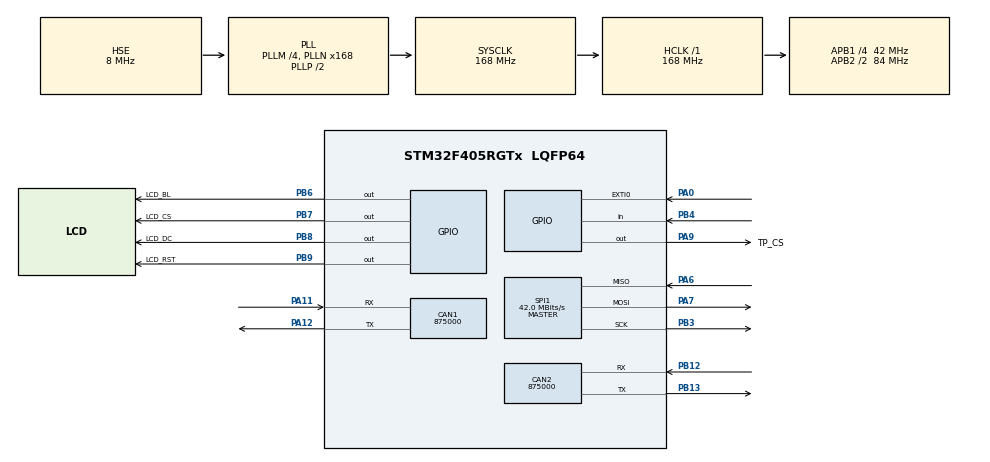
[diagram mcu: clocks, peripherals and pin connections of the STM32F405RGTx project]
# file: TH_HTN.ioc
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ADC1.Channel-1\#ChannelRegularConversion=ADC_CHANNEL_TEMPSENSOR
ADC1.NbrOfConversionFlag=1
ADC1.Rank-1\#ChannelRegularConversion=1
ADC1.SamplingTime-1\#ChannelRegularConversion=ADC_SAMPLETIME_3CYCLES
ADC1.master=1
CAN1.CalculateBaudRate=875000
CAN1.CalculateTimeBit=1142
CAN1.CalculateTimeQuantum=380.95238095238096
CAN1.Mode=CAN_MODE_NORMAL
CAN1.NART=ENABLE
CAN2.CalculateBaudRate=875000
CAN2.CalculateTimeBit=1142
CAN2.CalculateTimeQuantum=380.95238095238096
CAN2.Mode=CAN_MODE_NORMAL
CAN2.NART=ENABLE
FREERTOS.Queues01=TempQueue,16,uint32_t,0,Dynamic,NULL,NULL
FREERTOS.Tasks01=UI_Task,24,1024,StartDefaultTask,Default,NULL,Dynamic,NULL,NULL;Temp_Task,24,512,StartTask02,Default,NULL,Dynamic,NULL,NULL;Touch_Task,24,256,StartTask03,Default,NULL,Dynamic,NULL,NULL
FREERTOS.configTOTAL_HEAP_SIZE=30720
FREERTOS.configUSE_NEWLIB_REENTRANT=1
Mcu.Family=STM32F4
Mcu.Name=STM32F405RGTx
Mcu.Package=LQFP64
NVIC.EXTI0_IRQn=true\:5\:0\:false\:false\:true\:true\:true\:true\:true
NVIC.PriorityGroup=NVIC_PRIORITYGROUP_4
NVIC.TIM1_UP_TIM10_IRQn=true\:15\:0\:false\:false\:true\:false\:false\:true\:true
NVIC.TimeBase=TIM1_UP_TIM10_IRQn
NVIC.TimeBaseIP=TIM1
PA0-WKUP.GPIO_ModeDefaultEXTI=GPIO_MODE_IT_RISING
PA0-WKUP.GPIO_PuPd=GPIO_PULLDOWN
PA0-WKUP.Signal=GPXTI0
PA11.GPIO_PuPd=GPIO_PULLUP
PA11.Mode=CAN_Activate
PA11.Signal=CAN1_RX
PA12.Mode=CAN_Activate
PA12.Signal=CAN1_TX
PA13.Mode=Serial_Wire
PA13.Signal=SYS_JTMS-SWDIO
PA14.Mode=Serial_Wire
PA14.Signal=SYS_JTCK-SWCLK
PA6.Mode=Full_Duplex_Master
PA6.Signal=SPI1_MISO
PA7.Mode=Full_Duplex_Master
PA7.Signal=SPI1_MOSI
PA9.GPIO_Label=TP_CS
PA9.PinState=GPIO_PIN_SET
PA9.Signal=GPIO_Output
PB12.GPIO_PuPd=GPIO_PULLUP
PB12.Mode=CAN_Activate
PB12.Signal=CAN2_RX
PB13.Mode=CAN_Activate
PB13.Signal=CAN2_TX
PB3.Mode=Full_Duplex_Master
PB3.Signal=SPI1_SCK
PB4.GPIO_PuPd=GPIO_PULLUP
PB4.Signal=GPIO_Input
PB6.GPIO_Label=LCD_BL
PB6.PinState=GPIO_PIN_RESET
PB6.Signal=GPIO_Output
PB7.GPIO_Label=LCD_CS
PB7.PinState=GPIO_PIN_SET
PB7.Signal=GPIO_Output
PB8.GPIO_Label=LCD_DC
PB8.GPIO_Speed=GPIO_SPEED_FREQ_HIGH
PB8.PinState=GPIO_PIN_SET
PB8.Signal=GPIO_Output
PB9.GPIO_Label=LCD_RST
PB9.PinState=GPIO_PIN_SET
PB9.Signal=GPIO_Output
PH0-OSC_IN.Mode=HSE-External-Oscillator
PH0-OSC_IN.Signal=RCC_OSC_IN
PH1-OSC_OUT.Mode=HSE-External-Oscillator
PH1-OSC_OUT.Signal=RCC_OSC_OUT
ProjectManager.HeapSize=0x200
ProjectManager.StackSize=0x400
ProjectManager.TargetToolchain=STM32CubeIDE
RCC.48MHZClocksFreq_Value=84000000
RCC.AHBFreq_Value=168000000
RCC.APB1CLKDivider=RCC_HCLK_DIV4
RCC.APB1Freq_Value=42000000
RCC.APB1TimFreq_Value=84000000
RCC.APB2CLKDivider=RCC_HCLK_DIV2
RCC.APB2Freq_Value=84000000
RCC.APB2TimFreq_Value=168000000
RCC.CortexFreq_Value=168000000
RCC.HCLKFreq_Value=168000000
RCC.HSE_VALUE=8000000
RCC.HSI_VALUE=16000000
RCC.LSE_VALUE=32768
RCC.PLLM=4
RCC.PLLN=168
RCC.PLLSourceVirtual=RCC_PLLSOURCE_HSE
RCC.SYSCLKFreq_VALUE=168000000
RCC.SYSCLKSource=RCC_SYSCLKSOURCE_PLLCLK
RCC.VCOOutputFreq_Value=336000000
SPI1.CalculateBaudRate=42.0 MBits/s
SPI1.Direction=SPI_DIRECTION_2LINES
SPI1.Mode=SPI_MODE_MASTER
SPI1.VirtualType=VM_MASTER
VP_ADC1_TempSens_Input.Mode=IN-TempSens
VP_FREERTOS_VS_CMSIS_V2.Mode=CMSIS_V2
VP_SYS_VS_tim1.Mode=TIM1
board=custom

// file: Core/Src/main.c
/* USER CODE BEGIN Header */
/**
  ******************************************************************************
  * @file           : main.c
  * @brief          : Main program body
  ******************************************************************************
  * @attention
  *
  * Copyright (c) 2026 STMicroelectronics.
  * All rights reserved.
  *
  * This software is licensed under terms that can be found in the LICENSE file
  * in the root directory of this software component.
  * If no LICENSE file comes with this software, it is provided AS-IS.
  *
  ******************************************************************************
  */
/* USER CODE END Header */
#include "main.h"
#include "cmsis_os.h"

/* USER CODE BEGIN Includes */
#include <stdio.h>
#include <string.h>
#include "st7789.h"
/* USER CODE END Includes */

ADC_HandleTypeDef hadc1;

CAN_HandleTypeDef hcan1;
CAN_HandleTypeDef hcan2;

SPI_HandleTypeDef hspi1;

/* Definitions for UI_Task */
osThreadId_t UI_TaskHandle;
const osThreadAttr_t UI_Task_attributes = {
  .name = "UI_Task",
  .stack_size = 1024 * 4,
  .priority = (osPriority_t) osPriorityNormal,
};
/* Definitions for Temp_Task */
osThreadId_t Temp_TaskHandle;
const osThreadAttr_t Temp_Task_attributes = {
  .name = "Temp_Task",
  .stack_size = 512 * 4,
  .priority = (osPriority_t) osPriorityNormal,
};
/* Definitions for Touch_Task */
osThreadId_t Touch_TaskHandle;
const osThreadAttr_t Touch_Task_attributes = {
  .name = "Touch_Task",
  .stack_size = 256 * 4,
  .priority = (osPriority_t) osPriorityNormal,
};
/* Definitions for TempQueue */
osMessageQueueId_t TempQueueHandle;
const osMessageQueueAttr_t TempQueue_attributes = {
  .name = "TempQueue"
};
/* USER CODE BEGIN PV */
float debug_temp = 0.0f;

/* USER CODE END PV */

void SystemClock_Config(void);
static void MX_GPIO_Init(void);
static void MX_ADC1_Init(void);
static void MX_CAN1_Init(void);
static void MX_CAN2_Init(void);
static void MX_SPI1_Init(void);
void StartDefaultTask(void *argument);
void StartTask02(void *argument);
void StartTask03(void *argument);

/* USER CODE BEGIN 0 */
void CAN_Config_And_Start(void)
{
    HAL_CAN_Stop(&hcan1);
    HAL_CAN_Stop(&hcan2);

    // CẤU HÌNH CAN1 VÀ CAN2 VỀ BÌNH THƯỜNG (NORMAL)
    hcan1.Init.Prescaler = 20;
    hcan1.Init.Mode = CAN_MODE_NORMAL;
    hcan1.Init.SyncJumpWidth = CAN_SJW_1TQ;
    hcan1.Init.TimeSeg1 = CAN_BS1_11TQ;
    hcan1.Init.TimeSeg2 = CAN_BS2_2TQ;
    hcan1.Init.TimeTriggeredMode = DISABLE;
    hcan1.Init.AutoBusOff = DISABLE;
    hcan1.Init.AutoWakeUp = DISABLE;
    hcan1.Init.AutoRetransmission = ENABLE; // Bật khiên chống mất gói
    hcan1.Init.ReceiveFifoLocked = DISABLE;
    hcan1.Init.TransmitFifoPriority = DISABLE;
    HAL_CAN_Init(&hcan1);

    hcan2.Init = hcan1.Init;
    hcan2.Init.Mode = CAN_MODE_NORMAL;
    HAL_CAN_Init(&hcan2);

    // CẤU HÌNH BỘ LỌC CHUẨN 100%
    CAN_FilterTypeDef filter;
    filter.FilterActivation = CAN_FILTER_ENABLE;
    filter.FilterMode = CAN_FILTERMODE_IDMASK;
    filter.FilterScale = CAN_FILTERSCALE_32BIT;
    filter.FilterIdHigh = 0;
    filter.FilterIdLow = 0;
    filter.FilterMaskIdHigh = 0;
    filter.FilterMaskIdLow = 0;
    filter.FilterFIFOAssignment = CAN_RX_FIFO0;
    filter.SlaveStartFilterBank = 14;

    filter.FilterBank = 0;
    HAL_CAN_ConfigFilter(&hcan1, &filter); // Cấp phép CAN1

    filter.FilterBank = 14;
    HAL_CAN_ConfigFilter(&hcan1, &filter); // LƯU Ý: Phải dùng hcan1 để cấp phép CAN2

    HAL_CAN_Start(&hcan1);
    HAL_CAN_Start(&hcan2);
}
long map(long x, long in_min, long in_max, long out_min, long out_max) {
    return (x - in_min) * (out_max - out_min) / (in_max - in_min) + out_min;
}

//uint8_t TP_Read_XY(uint16_t *x, uint16_t *y)
//{
//    // 1. MỞ LẠI CỔNG CHỐNG NHIỄU (Triệt tiêu 100% hiện tượng tự bấm PAUSE)
//    if (HAL_GPIO_ReadPin(GPIOB, GPIO_PIN_4) != GPIO_PIN_RESET) return 0;
//
//    uint8_t tx_x[3] = {0x90, 0, 0};
//    uint8_t tx_y[3] = {0xD0, 0, 0};
//    uint8_t rx_x[3] = {0}, rx_y[3] = {0};
//    uint16_t raw_x = 0, raw_y = 0;
//
//    vTaskSuspendAll();
//
//    __HAL_SPI_DISABLE(&hspi1);
//    SPI1->CR1 = (SPI1->CR1 & ~SPI_CR1_BR_Msk) | SPI_BAUDRATEPRESCALER_128;
//    __HAL_SPI_ENABLE(&hspi1);
//
//    HAL_GPIO_WritePin(GPIOB, GPIO_PIN_7, GPIO_PIN_SET);
//    HAL_GPIO_WritePin(GPIOA, GPIO_PIN_9, GPIO_PIN_RESET);
//
//    HAL_SPI_TransmitReceive(&hspi1, tx_x, rx_x, 3, 10);
//    raw_x = ((rx_x[1] << 8) | rx_x[2]) >> 4;
//    HAL_SPI_TransmitReceive(&hspi1, tx_y, rx_y, 3, 10);
//    raw_y = ((rx_y[1] << 8) | rx_y[2]) >> 4;
//
//    HAL_GPIO_WritePin(GPIOA, GPIO_PIN_9, GPIO_PIN_SET);
//
//    __HAL_SPI_DISABLE(&hspi1);
//    SPI1->CR1 = (SPI1->CR1 & ~SPI_CR1_BR_Msk) | SPI_BAUDRATEPRESCALER_8;
//    __HAL_SPI_ENABLE(&hspi1);
//
//    xTaskResumeAll();
//
//    // Loại bỏ dữ liệu ngoài luồng
//    if (raw_x == 0 || raw_x >= 4095 || raw_y == 0 || raw_y >= 4095) return 0;
//
//    // 2. BỘ MAP CÂN CHỈNH RIÊNG THEO SỐ ĐO THỰC TẾ
//    long lcd_x = map(raw_x, 0, 2600, 0, 240);
//    long lcd_y = map(raw_y, 0, 3800, 0, 320);
//
//    if (lcd_x < 0) lcd_x = 0; if (lcd_x > 240) lcd_x = 240;
//    if (lcd_y < 0) lcd_y = 0; if (lcd_y > 320) lcd_y = 320;
//
//    *x = (uint16_t)lcd_x;
//    *y = (uint16_t)lcd_y;
//
//    return 1;
//}

uint8_t TP_Read_XY(uint16_t *x, uint16_t *y)
{
    uint8_t tx_x[3] = {0x90, 0, 0};
    uint8_t tx_y[3] = {0xD0, 0, 0};
    uint8_t rx_x[3] = {0}, rx_y[3] = {0};
    uint16_t raw_x = 0, raw_y = 0;

    vTaskSuspendAll();

    // 1. Hạ phanh tốc độ SPI cho Cảm ứng (Nó chạy rất chậm)
    __HAL_SPI_DISABLE(&hspi1);
    SPI1->CR1 = (SPI1->CR1 & ~SPI_CR1_BR_Msk) | SPI_BAUDRATEPRESCALER_128;
    __HAL_SPI_ENABLE(&hspi1);

    // =========================================================
    // 2. BẮT LCD BỊT TAI LẠI (Cực kỳ quan trọng để cứu màn hình)
    HAL_GPIO_WritePin(GPIOB, GPIO_PIN_7, GPIO_PIN_SET);

    // 3. ĐÁNH THỨC CẢM ỨNG (Trở về đúng chân PB9 nguyên thủy)
    HAL_GPIO_WritePin(GPIOB, GPIO_PIN_9, GPIO_PIN_RESET);
    // =========================================================

    // 4. Hỏi cung tọa độ
    HAL_SPI_TransmitReceive(&hspi1, tx_x, rx_x, 3, 10);
    raw_x = ((rx_x[1] << 8) | rx_x[2]) >> 4;
    HAL_SPI_TransmitReceive(&hspi1, tx_y, rx_y, 3, 10);
    raw_y = ((rx_y[1] << 8) | rx_y[2]) >> 4;

    // =========================================================
    // 5. CHO CẢM ỨNG ĐI NGỦ
    HAL_GPIO_WritePin(GPIOB, GPIO_PIN_9, GPIO_PIN_SET);
    // =========================================================

    // 6. Phục hồi tốc độ SPI cực nhanh cho LCD
    __HAL_SPI_DISABLE(&hspi1);
    SPI1->CR1 = (SPI1->CR1 & ~SPI_CR1_BR_Msk) | SPI_BAUDRATEPRESCALER_8;
    __HAL_SPI_ENABLE(&hspi1);

    xTaskResumeAll();

    // Loại bỏ rác vật lý (Nếu không chạm, điện áp thường nảy lên 4095 hoặc 0)
    if (raw_x == 0 || raw_x >= 4095 || raw_y == 0 || raw_y >= 4095) return 0;

    // Đẩy thẳng số Điện áp (RAW) ra ngoài để chúng ta đo
    *x = raw_x;
    *y = raw_y;

    return 1;
}
/* USER CODE END 0 */

int main(void)
{

  /* MCU Configuration--------------------------------------------------------*/

  /* Reset of all peripherals, Initializes the Flash interface and the Systick. */
  HAL_Init();

  /* Configure the system clock */
  SystemClock_Config();

  /* Initialize all configured peripherals */
  MX_GPIO_Init();
  MX_ADC1_Init();
  MX_CAN1_Init();
  MX_CAN2_Init();
  MX_SPI1_Init();
  /* USER CODE BEGIN 2 */
  CAN_Config_And_Start();
  /* USER CODE END 2 */

  /* Init scheduler */
  osKernelInitialize();

  /* Create the queue(s) */
  /* creation of TempQueue */
  TempQueueHandle = osMessageQueueNew (16, sizeof(uint32_t), &TempQueue_attributes);

  /* Create the thread(s) */
  /* creation of UI_Task */
  UI_TaskHandle = osThreadNew(StartDefaultTask, NULL, &UI_Task_attributes);

  /* creation of Temp_Task */
  Temp_TaskHandle = osThreadNew(StartTask02, NULL, &Temp_Task_attributes);

  /* creation of Touch_Task */
  Touch_TaskHandle = osThreadNew(StartTask03, NULL, &Touch_Task_attributes);

  /* Start scheduler */
  osKernelStart();

  /* We should never get here as control is now taken by the scheduler */

  /* Infinite loop */
  while (1)
  {

  }
}

void SystemClock_Config(void)
{
  RCC_OscInitTypeDef RCC_OscInitStruct = {0};
  RCC_ClkInitTypeDef RCC_ClkInitStruct = {0};

  /** Configure the main internal regulator output voltage
  */
  __HAL_RCC_PWR_CLK_ENABLE();
  __HAL_PWR_VOLTAGESCALING_CONFIG(PWR_REGULATOR_VOLTAGE_SCALE1);

  /** Initializes the RCC Oscillators according to the specified parameters
  * in the RCC_OscInitTypeDef structure.
  */
  RCC_OscInitStruct.OscillatorType = RCC_OSCILLATORTYPE_HSE;
  RCC_OscInitStruct.HSEState = RCC_HSE_ON;
  RCC_OscInitStruct.PLL.PLLState = RCC_PLL_ON;
  RCC_OscInitStruct.PLL.PLLSource = RCC_PLLSOURCE_HSE;
  RCC_OscInitStruct.PLL.PLLM = 4;
  RCC_OscInitStruct.PLL.PLLN = 168;
  RCC_OscInitStruct.PLL.PLLP = RCC_PLLP_DIV2;
  RCC_OscInitStruct.PLL.PLLQ = 4;
  if (HAL_RCC_OscConfig(&RCC_OscInitStruct) != HAL_OK)
  {
    Error_Handler();
  }

  /** Initializes the CPU, AHB and APB buses clocks
  */
  RCC_ClkInitStruct.ClockType = RCC_CLOCKTYPE_HCLK|RCC_CLOCKTYPE_SYSCLK
                              |RCC_CLOCKTYPE_PCLK1|RCC_CLOCKTYPE_PCLK2;
  RCC_ClkInitStruct.SYSCLKSource = RCC_SYSCLKSOURCE_PLLCLK;
  RCC_ClkInitStruct.AHBCLKDivider = RCC_SYSCLK_DIV1;
  RCC_ClkInitStruct.APB1CLKDivider = RCC_HCLK_DIV4;
  RCC_ClkInitStruct.APB2CLKDivider = RCC_HCLK_DIV2;

  if (HAL_RCC_ClockConfig(&RCC_ClkInitStruct, FLASH_LATENCY_5) != HAL_OK)
  {
    Error_Handler();
  }
}

static void MX_ADC1_Init(void)
{

  ADC_ChannelConfTypeDef sConfig = {0};

  /** Configure the global features of the ADC (Clock, Resolution, Data Alignment and number of conversion)
  */
  hadc1.Instance = ADC1;
  hadc1.Init.ClockPrescaler = ADC_CLOCK_SYNC_PCLK_DIV4;
  hadc1.Init.Resolution = ADC_RESOLUTION_12B;
  hadc1.Init.ScanConvMode = DISABLE;
  hadc1.Init.ContinuousConvMode = DISABLE;
  hadc1.Init.DiscontinuousConvMode = DISABLE;
  hadc1.Init.ExternalTrigConvEdge = ADC_EXTERNALTRIGCONVEDGE_NONE;
  hadc1.Init.ExternalTrigConv = ADC_SOFTWARE_START;
  hadc1.Init.DataAlign = ADC_DATAALIGN_RIGHT;
  hadc1.Init.NbrOfConversion = 1;
  hadc1.Init.DMAContinuousRequests = DISABLE;
  hadc1.Init.EOCSelection = ADC_EOC_SINGLE_CONV;
  if (HAL_ADC_Init(&hadc1) != HAL_OK)
  {
    Error_Handler();
  }

  /** Configure for the selected ADC regular channel its corresponding rank in the sequencer and its sample time.
  */
  sConfig.Channel = ADC_CHANNEL_TEMPSENSOR;
  sConfig.Rank = 1;
  sConfig.SamplingTime = ADC_SAMPLETIME_3CYCLES;
  if (HAL_ADC_ConfigChannel(&hadc1, &sConfig) != HAL_OK)
  {
    Error_Handler();
  }

}

static void MX_CAN1_Init(void)
{

  hcan1.Instance = CAN1;
  hcan1.Init.Prescaler = 16;
  hcan1.Init.Mode = CAN_MODE_NORMAL;
  hcan1.Init.SyncJumpWidth = CAN_SJW_1TQ;
  hcan1.Init.TimeSeg1 = CAN_BS1_1TQ;
  hcan1.Init.TimeSeg2 = CAN_BS2_1TQ;
  hcan1.Init.TimeTriggeredMode = DISABLE;
  hcan1.Init.AutoBusOff = DISABLE;
  hcan1.Init.AutoWakeUp = DISABLE;
  hcan1.Init.AutoRetransmission = ENABLE;
  hcan1.Init.ReceiveFifoLocked = DISABLE;
  hcan1.Init.TransmitFifoPriority = DISABLE;
  if (HAL_CAN_Init(&hcan1) != HAL_OK)
  {
    Error_Handler();
  }

}

static void MX_CAN2_Init(void)
{

  hcan2.Instance = CAN2;
  hcan2.Init.Prescaler = 16;
  hcan2.Init.Mode = CAN_MODE_NORMAL;
  hcan2.Init.SyncJumpWidth = CAN_SJW_1TQ;
  hcan2.Init.TimeSeg1 = CAN_BS1_1TQ;
  hcan2.Init.TimeSeg2 = CAN_BS2_1TQ;
  hcan2.Init.TimeTriggeredMode = DISABLE;
  hcan2.Init.AutoBusOff = DISABLE;
  hcan2.Init.AutoWakeUp = DISABLE;
  hcan2.Init.AutoRetransmission = ENABLE;
  hcan2.Init.ReceiveFifoLocked = DISABLE;
  hcan2.Init.TransmitFifoPriority = DISABLE;
  if (HAL_CAN_Init(&hcan2) != HAL_OK)
  {
    Error_Handler();
  }

}

static void MX_SPI1_Init(void)
{

  /* SPI1 parameter configuration*/
  hspi1.Instance = SPI1;
  hspi1.Init.Mode = SPI_MODE_MASTER;
  hspi1.Init.Direction = SPI_DIRECTION_2LINES;
  hspi1.Init.DataSize = SPI_DATASIZE_8BIT;
  hspi1.Init.CLKPolarity = SPI_POLARITY_LOW;
  hspi1.Init.CLKPhase = SPI_PHASE_1EDGE;
  hspi1.Init.NSS = SPI_NSS_SOFT;
  hspi1.Init.BaudRatePrescaler = SPI_BAUDRATEPRESCALER_2;
  hspi1.Init.FirstBit = SPI_FIRSTBIT_MSB;
  hspi1.Init.TIMode = SPI_TIMODE_DISABLE;
  hspi1.Init.CRCCalculation = SPI_CRCCALCULATION_DISABLE;
  hspi1.Init.CRCPolynomial = 10;
  if (HAL_SPI_Init(&hspi1) != HAL_OK)
  {
    Error_Handler();
  }

}

static void MX_GPIO_Init(void)
{
  GPIO_InitTypeDef GPIO_InitStruct = {0};

  /* GPIO Ports Clock Enable */
  __HAL_RCC_GPIOH_CLK_ENABLE();
  __HAL_RCC_GPIOA_CLK_ENABLE();
  __HAL_RCC_GPIOB_CLK_ENABLE();

  /*Configure GPIO pin Output Level */
  HAL_GPIO_WritePin(TP_CS_GPIO_Port, TP_CS_Pin, GPIO_PIN_SET);

  /*Configure GPIO pin Output Level */
  HAL_GPIO_WritePin(LCD_BL_GPIO_Port, LCD_BL_Pin, GPIO_PIN_RESET);

  /*Configure GPIO pin Output Level */
  HAL_GPIO_WritePin(GPIOB, LCD_CS_Pin|LCD_DC_Pin|LCD_RST_Pin, GPIO_PIN_SET);

  /*Configure GPIO pin : PA0 */
  GPIO_InitStruct.Pin = GPIO_PIN_0;
  GPIO_InitStruct.Mode = GPIO_MODE_IT_RISING;
  GPIO_InitStruct.Pull = GPIO_PULLDOWN;
  HAL_GPIO_Init(GPIOA, &GPIO_InitStruct);

  /*Configure GPIO pin : TP_CS_Pin */
  GPIO_InitStruct.Pin = TP_CS_Pin;
  GPIO_InitStruct.Mode = GPIO_MODE_OUTPUT_PP;
  GPIO_InitStruct.Pull = GPIO_NOPULL;
  GPIO_InitStruct.Speed = GPIO_SPEED_FREQ_LOW;
  HAL_GPIO_Init(TP_CS_GPIO_Port, &GPIO_InitStruct);

  /*Configure GPIO pin : PB4 */
  GPIO_InitStruct.Pin = GPIO_PIN_4;
  GPIO_InitStruct.Mode = GPIO_MODE_INPUT;
  GPIO_InitStruct.Pull = GPIO_PULLUP;
  HAL_GPIO_Init(GPIOB, &GPIO_InitStruct);

  /*Configure GPIO pins : LCD_BL_Pin LCD_CS_Pin LCD_RST_Pin */
  GPIO_InitStruct.Pin = LCD_BL_Pin|LCD_CS_Pin|LCD_RST_Pin;
  GPIO_InitStruct.Mode = GPIO_MODE_OUTPUT_PP;
  GPIO_InitStruct.Pull = GPIO_NOPULL;
  GPIO_InitStruct.Speed = GPIO_SPEED_FREQ_LOW;
  HAL_GPIO_Init(GPIOB, &GPIO_InitStruct);

  /*Configure GPIO pin : LCD_DC_Pin */
  GPIO_InitStruct.Pin = LCD_DC_Pin;
  GPIO_InitStruct.Mode = GPIO_MODE_OUTPUT_PP;
  GPIO_InitStruct.Pull = GPIO_NOPULL;
  GPIO_InitStruct.Speed = GPIO_SPEED_FREQ_HIGH;
  HAL_GPIO_Init(LCD_DC_GPIO_Port, &GPIO_InitStruct);

  /* EXTI interrupt init*/
  HAL_NVIC_SetPriority(EXTI0_IRQn, 5, 0);
  HAL_NVIC_EnableIRQ(EXTI0_IRQn);

}

void StartDefaultTask(void *argument)
{
  /* USER CODE BEGIN 5 */
	osDelay(200);
	// 1. Nhớ bật đèn nền LCD (PB6 ở mức LOW)
	  HAL_GPIO_WritePin(GPIOB, GPIO_PIN_6, GPIO_PIN_SET);

	  // 2. Khởi tạo ST7789
	  ST7789_Init();

	  // 3. Phủ màu để test

	  ST7789_Fill_Color(BLACK);

	  // Vẽ giao diện tĩnh
	  ST7789_WriteString(20, 10, "[NHOM 04]", Font_11x18, WHITE, BLACK);
	      ST7789_WriteString(10, 60, "Internal Temp: ", Font_11x18, WHITE, BLACK);

	      // Nút PLAY (Bên trái)
	      ST7789_Fill(20, 150, 100, 200, GREEN);
	      ST7789_WriteString(35, 165, "PLAY", Font_11x18, BLACK, GREEN);

	      // Nút PAUSE (Dời về bên phải: X từ 140 đến 220)
	      ST7789_Fill(140, 150, 220, 200, RED);
	      ST7789_WriteString(150, 165, "PAUSE", Font_11x18, WHITE, RED);

	    float current_temp = 0.0f;
	    char temp_str[20];
  /* Infinite loop */
  for(;;)
  {
	  // 1. CẬP NHẬT NHIỆT ĐỘ TỪ QUEUE (Timeout siêu nhỏ 10ms)
	        if (osMessageQueueGet(TempQueueHandle, &current_temp, NULL, 10) == osOK)
	        {
	            debug_temp = current_temp; // Lưu vào biến toàn cục cho CAN gửi
	            sprintf(temp_str, "%.1f C   ", current_temp);
	            ST7789_WriteString(150, 60, temp_str, Font_11x18, RED, BLACK);
	        }

	        // 3. Nhường CPU 40ms để xoay vòng quét
	        osDelay(50);
  }
  /* USER CODE END 5 */
}

void StartTask02(void *argument)
{
  /* USER CODE BEGIN StartTask02 */
	uint32_t adc_val;
	  float voltage;
	  float temperature;
  /* Infinite loop */
  for(;;)
  {
	  // 1. Khởi động bộ chuyển đổi ADC
	      HAL_ADC_Start(&hadc1);

	      // 2. Chờ ADC đọc xong (Timeout 100ms)
	      if (HAL_ADC_PollForConversion(&hadc1, 100) == HAL_OK)
	      {
	        // Lấy giá trị thô (0 - 4095)
	        adc_val = HAL_ADC_GetValue(&hadc1);

	        // Tính toán điện áp và nhiệt độ (Dựa theo Datasheet của F405)
	        voltage = (float)adc_val * 3.3f / 4095.0f;
	        temperature = ((voltage - 0.76f) / 0.0025f) + 25.0f;

	        // 3. Đẩy giá trị nhiệt độ vào Queue để gửi sang UI_Task
	        osMessageQueuePut(TempQueueHandle, &temperature, 0, 0);
	      }

	      // Tắt ADC để tiết kiệm năng lượng
	      HAL_ADC_Stop(&hadc1);

	      // Block Task này 1 giây (1000ms) rồi mới đo lại
	      osDelay(1000);
  }
  /* USER CODE END StartTask02 */
}

void StartTask03(void *argument)
{
  /* USER CODE BEGIN StartTask03 */
	osDelay(1000);
	// Khởi tạo cảm ứng
	//uint16_t touch_x, touch_y;
	static uint8_t play_locked = 0;
	uint16_t touch_x, touch_y;
  /* Infinite loop */
  for(;;)
  {
	  if (TP_Read_XY(&touch_x, &touch_y))
	  	        {
		  // Bỏ qua giá trị trôi nổi khi nhấc tay ra khỏi màn hình
//		              if (touch_y > 1650)
//		              {
//		                  play_locked = 0;
//		                  osDelay(40);
//		                  continue;
//		              }
		  	  	  	char debug_coord[30];
		            sprintf(debug_coord, "RAW X:%04d Y:%04d  ", touch_x, touch_y);

		            vTaskSuspendAll();
		            ST7789_WriteString(10, 10, debug_coord, Font_11x18, YELLOW, BLACK);
		            xTaskResumeAll();

		              // ==========================================================
		              // --- 1. NÚT PLAY (Bên Trái: X từ 0 đến 1000) ---
		              // ==========================================================
		              if (touch_x >= 0 && touch_x <= 500 && touch_y >= 1300 && touch_y <= 1650)
		              {
		            	  if (play_locked == 0)
		            	                    {
		            	                        play_locked = 1;

		            	                        vTaskSuspendAll();
		            	                        ST7789_WriteString(10, 230, "CAN: TX...      ", Font_11x18, YELLOW, BLACK);
		            	                        xTaskResumeAll();

		            	                        osDelay(300);

		            	                        HAL_CAN_AbortTxRequest(&hcan1, CAN_TX_MAILBOX0 | CAN_TX_MAILBOX1 | CAN_TX_MAILBOX2);

		            	                        CAN_TxHeaderTypeDef TxHeader;
		            	                        TxHeader.StdId = 0x123;
		            	                        TxHeader.ExtId = 0x00;
		            	                        TxHeader.IDE = CAN_ID_STD;
		            	                        TxHeader.RTR = CAN_RTR_DATA;
		            	                        TxHeader.DLC = 4;
		            	                        TxHeader.TransmitGlobalTime = DISABLE;

		            	                        uint32_t TxMailbox;
		            	                        uint8_t TxData[4];
		            	                        memcpy(TxData, &debug_temp, 4);

		            	                        // ÉP CAN1 BẮN DỮ LIỆU RA DÂY
		            	                        if (HAL_CAN_AddTxMessage(&hcan1, &TxHeader, TxData, &TxMailbox) == HAL_OK)
		            	                        {
		            	                            osDelay(30);

		            	                            // KHÁM HỘP THƯ: Xem có nhận được ACK từ dây không?
		            	                            if (HAL_CAN_GetTxMailboxesFreeLevel(&hcan1) != 3)
		            	                            {
		            	                                vTaskSuspendAll();
		            	                                ST7789_WriteString(10, 230, "CAN1: TX Error! ", Font_11x18, RED, BLACK);
		            	                                xTaskResumeAll();
		            	                            }
		            	                            else
		            	                            {
		            	                                // THƯ ĐÃ BAY: KHÁM TÚI CỦA CAN2
		            	                                if (HAL_CAN_GetRxFifoFillLevel(&hcan2, CAN_RX_FIFO0) > 0)
		            	                                {
		            	                                    CAN_RxHeaderTypeDef RxHeader;
		            	                                    uint8_t RxData[4];
		            	                                    float received_temp;

		            	                                    HAL_CAN_GetRxMessage(&hcan2, CAN_RX_FIFO0, &RxHeader, RxData);
		            	                                    memcpy(&received_temp, RxData, 4);

		            	                                    int p_nguyen = (int)received_temp;
		            	                                    int p_le = (int)((received_temp - p_nguyen) * 10);
		            	                                    if(p_le < 0) p_le = -p_le;

		            	                                    char can_msg[30];
		            	                                    sprintf(can_msg, "CAN2 RX: %d.%d C", p_nguyen, p_le);

		            	                                    vTaskSuspendAll();
		            	                                    ST7789_WriteString(10, 230, can_msg, Font_11x18, GREEN, BLACK);
		            	                                    xTaskResumeAll();
		            	                                }
		            	                                else
		            	                                {
		            	                                    vTaskSuspendAll();
		            	                                    ST7789_WriteString(10, 230, "CAN2: No Data!  ", Font_11x18, RED, BLACK);
		            	                                    xTaskResumeAll();
		            	                                }
		            	                            }
		            	                        }
		            	                    }
		              }

		              // ==========================================================
		              // --- 2. NÚT PAUSE (Bên Phải: X từ 1600 đến 2100) ---
		              // ==========================================================
		              else if (touch_x >= 1600 && touch_x <= 1900 && touch_y >= 1300 && touch_y <= 1650)
		                          {
		                              vTaskSuspendAll();
		                              ST7789_WriteString(10, 230, "System SLEEPING!", Font_11x18, RED, BLACK);
		                              xTaskResumeAll();

		                              osDelay(500);

		                              // 1. Tắt đèn nền LCD
		                             // HAL_GPIO_WritePin(GPIOB, GPIO_PIN_6, GPIO_PIN_RESET);

		                              // 2. Tắt nhịp đếm của HAL (TIM1)
		                              HAL_SuspendTick();

		                              // 3. TẮT CHUÔNG BÁO THỨC CỦA FREERTOS (Thủ phạm là đây!)
		                              SysTick->CTRL &= ~SysTick_CTRL_ENABLE_Msk;

		                              // 4. Dọn sạch rác ngắt của nút PA0 (đề phòng lúc nãy bạn lỡ tay quẹt trúng)
		                              __HAL_GPIO_EXTI_CLEAR_IT(GPIO_PIN_0);

		                              // 5. ĐI NGỦ SÂU (Bây giờ thì có trời sập cũng không dậy, trừ khi bấm PA0)
		                              HAL_PWR_EnterSLEEPMode(PWR_MAINREGULATOR_ON, PWR_SLEEPENTRY_WFI);

		                              // ===================================================
		                              // --- ĐOẠN NÀY CHỈ CHẠY KHI BẠN NHẤN NÚT WAKEUP PA0 ---
		                              // ===================================================

		                              // 6. Bật lại chuông báo thức của FreeRTOS
		                              SysTick->CTRL |= SysTick_CTRL_ENABLE_Msk;

		                              // 7. Bật lại nhịp đếm của HAL
		                              HAL_ResumeTick();

		                              // 8. Bật lại đèn nền LCD
		                              HAL_GPIO_WritePin(GPIOB, GPIO_PIN_6, GPIO_PIN_SET);
		                              __HAL_GPIO_EXTI_CLEAR_IT(GPIO_PIN_0);

		                              vTaskSuspendAll();
		                              ST7789_WriteString(10, 230, "System AWAKE!   ", Font_11x18, GREEN, BLACK);
		                              xTaskResumeAll();

		                              osDelay(500);
		                          }
		              else
		              {
		                  play_locked = 0;
		              }
		          }
		          else
		          {
		              play_locked = 0;
		          }

		          osDelay(40);
  }
  /* USER CODE END StartTask03 */
}

void HAL_TIM_PeriodElapsedCallback(TIM_HandleTypeDef *htim)
{
  if (htim->Instance == TIM1)
  {
    HAL_IncTick();
  }
}

void Error_Handler(void)
{
  __disable_irq();
  while (1)
  {
  }
}
